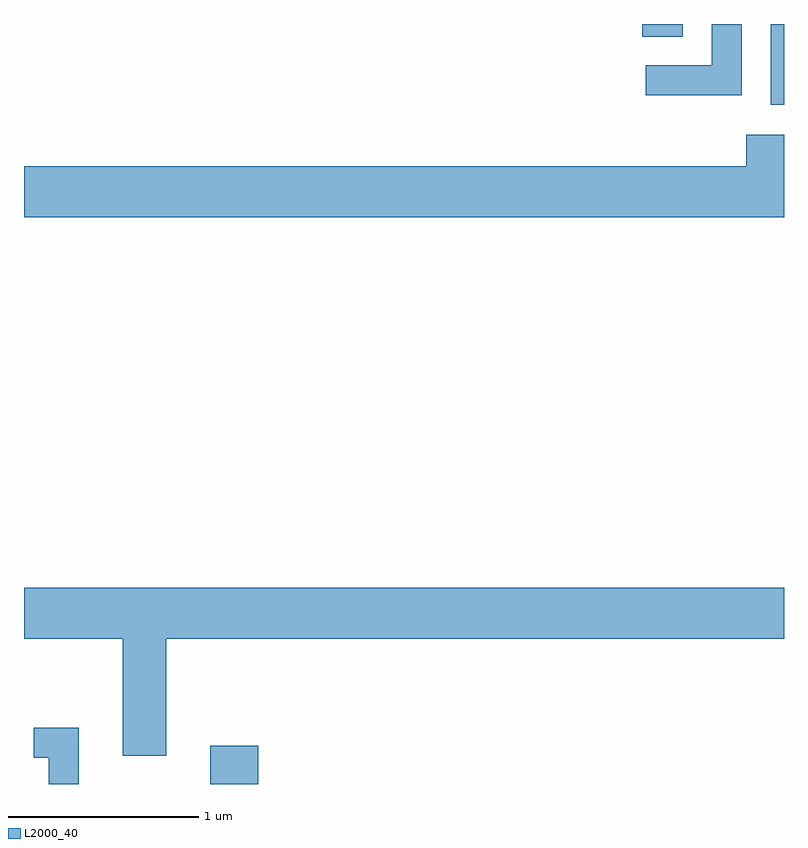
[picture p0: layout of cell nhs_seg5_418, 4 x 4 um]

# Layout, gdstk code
import gdstk
lib = gdstk.Library(unit=1e-6, precision=1e-09)
def R(c, l, rs):  # rectangles x0, y0, x1, y1
    for r in rs: c.add(gdstk.rectangle(r[:2], r[2:], *l))
def P(c, l, *ps):  # polygons
    for p in ps: c.add(gdstk.Polygon(p, *l))
L2000_40 = (2000, 40)

nhs_seg5_418 = lib.new_cell('nhs_seg5_418')
R(nhs_seg5_418, L2000_40, [(198.591,1416.072,198.844,1416.274), (201.541,1419.646,201.611,1420.072), (200.866,1420.006,201.079,1420.072)])
P(nhs_seg5_418, L2000_40, [(201.389,1420.072),(201.231,1420.072),(201.231,1419.854),(200.883,1419.854),(200.883,1419.696),(201.389,1419.696)],
  [(201.611,1419.489),(201.411,1419.489),(201.411,1419.324),(197.611,1419.324),(197.611,1419.056),(201.611,1419.056)],
  [(198.359,1416.836),(201.611,1416.836),(201.611,1417.104),(197.611,1417.104),(197.611,1416.836),(198.131,1416.836),(198.131,1416.221),(198.359,1416.221)],
  [(197.899,1416.369),(197.663,1416.369),(197.663,1416.211),(197.741,1416.211),(197.741,1416.072),(197.899,1416.072)])

lib.write_gds('nhs_seg5_418.gds')
